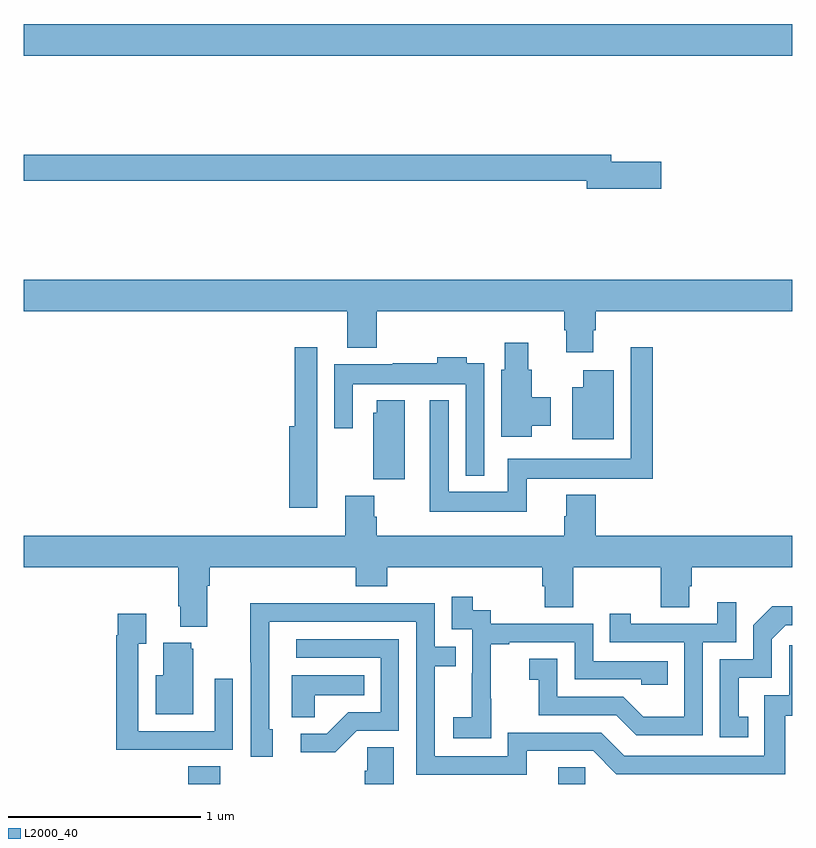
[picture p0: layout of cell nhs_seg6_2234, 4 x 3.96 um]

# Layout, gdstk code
import gdstk
lib = gdstk.Library(unit=1e-6, precision=1e-09)
def R(c, l, rs):  # rectangles x0, y0, x1, y1
    for r in rs: c.add(gdstk.rectangle(r[:2], r[2:], *l))
def P(c, l, *ps):  # polygons
    for p in ps: c.add(gdstk.Polygon(p, *l))
L2000_40 = (2000, 40)

nhs_seg6_2234 = lib.new_cell('nhs_seg6_2234')
R(nhs_seg6_2234, L2000_40, [(243.857,987.5,244.022,987.593), (245.783,987.5,245.922,987.587), (243,991.292,247,991.456)])
P(nhs_seg6_2234, L2000_40, [(246.319,990.74),(246.058,990.74),(246.058,990.776),(243,990.776),(243,990.64),(245.93,990.64),(245.93,990.598),(246.319,990.598)],
  [(245.965,989.862),(245.978,989.862),(245.978,989.96),(247,989.96),(247,990.124),(243,990.124),(243,989.96),(244.685,989.96),(244.685,989.771),(244.838,989.771),(244.838,989.96),(245.813,989.96),(245.813,989.862),(245.825,989.862),(245.825,989.748),(245.965,989.748)],
  [(245.644,989.366),(245.743,989.366),(245.743,989.514),(245.644,989.514),(245.644,989.655),(245.626,989.655),(245.626,989.797),(245.504,989.797),(245.504,989.655),(245.486,989.655),(245.486,989.307),(245.644,989.307)],
  [(244.528,989.258),(244.527,989.258),(244.527,989.773),(244.411,989.773),(244.411,989.362),(244.382,989.362),(244.382,988.938),(244.528,988.938)],
  [(245.618,989.09),(246.152,989.09),(246.152,989.088),(246.275,989.088),(246.275,989.773),(246.159,989.773),(246.159,989.194),(245.52,989.194),(245.52,989.02),(245.211,989.02),(245.211,989.497),(245.114,989.497),(245.114,988.916),(245.618,988.916)],
  [(245.397,989.689),(245.305,989.689),(245.305,989.722),(245.153,989.722),(245.153,989.689),(244.921,989.689),(244.921,989.686),(244.617,989.686),(244.617,989.352),(244.713,989.352),(244.713,989.582),(245.301,989.582),(245.301,989.105),(245.397,989.105)],
  [(246.07,989.653),(245.912,989.653),(245.912,989.566),(245.855,989.566),(245.855,989.294),(246.07,989.294)],
  [(244.984,989.497),(244.838,989.497),(244.838,989.433),(244.82,989.433),(244.82,989.086),(244.984,989.086)],
  [(244.838,988.892),(244.825,988.892),(244.825,989.001),(244.673,989.001),(244.673,988.792),(243,988.792),(243,988.628),(243.803,988.628),(243.803,988.426),(243.815,988.426),(243.815,988.319),(243.955,988.319),(243.955,988.532),(243.968,988.532),(243.968,988.628),(244.727,988.628),(244.727,988.529),(244.892,988.529),(244.892,988.628),(245.699,988.628),(245.699,988.53),(245.711,988.53),(245.711,988.42),(245.859,988.42),(245.859,988.628),(246.316,988.628),(246.316,988.42),(246.463,988.42),(246.463,988.53),(246.476,988.53),(246.476,988.628),(247,988.628),(247,988.792),(245.978,988.792),(245.978,989.005),(245.825,989.005),(245.825,988.893),(245.813,988.893),(245.813,988.792),(244.838,988.792)],
  [(245.433,987.943),(245.432,987.943),(245.432,988.227),(245.527,988.227),(245.527,988.239),(245.868,988.239),(245.868,988.044),(246.213,988.044),(246.213,988.017),(246.353,988.017),(246.353,988.14),(245.964,988.14),(245.964,988.335),(245.43,988.335),(245.43,988.404),(245.338,988.404),(245.338,988.474),(245.229,988.474),(245.229,988.305),(245.334,988.305),(245.334,988.076),(245.333,988.076),(245.333,987.847),(245.235,987.847),(245.235,987.737),(245.433,987.737)],
  [(246.534,988.239),(246.708,988.239),(246.708,988.447),(246.611,988.447),(246.611,988.335),(246.16,988.335),(246.16,988.387),(246.049,988.387),(246.049,988.239),(246.438,988.239),(246.438,987.85),(246.224,987.85),(246.12,987.954),(245.778,987.954),(245.778,988.153),(245.631,988.153),(245.631,988.043),(245.68,988.043),(245.68,987.858),(246.083,987.858),(246.188,987.753),(246.534,987.753)],
  [(245.617,987.672),(245.964,987.672),(246.084,987.552),(246.964,987.552),(246.964,987.855),(247,987.855),(247,988.222),(246.984,988.222),(246.984,987.963),(246.855,987.963),(246.855,987.648),(246.126,987.648),(246.006,987.768),(245.52,987.768),(245.52,987.645),(245.139,987.645),(245.139,988.114),(245.249,988.114),(245.249,988.215),(245.139,988.215),(245.139,988.44),(244.643,988.44),(244.643,988.442),(244.18,988.442),(244.18,988.135),(244.182,988.135),(244.182,987.642),(244.297,987.642),(244.297,987.786),(244.278,987.786),(244.278,988.344),(245.043,988.344),(245.043,987.549),(245.617,987.549)],
  [(246.77,987.849),(246.721,987.849),(246.721,988.053),(246.894,988.053),(246.894,988.254),(246.966,988.326),(247,988.326),(247,988.424),(246.896,988.424),(246.798,988.326),(246.798,988.149),(246.624,988.149),(246.624,987.744),(246.77,987.744)],
  [(243.773,987.678),(244.089,987.678),(244.089,988.048),(243.993,988.048),(243.993,987.774),(243.597,987.774),(243.597,988.231),(243.637,988.231),(243.637,988.387),(243.489,988.387),(243.489,988.274),(243.481,988.274),(243.481,987.677),(243.773,987.677)],
  [(244.734,987.777),(244.953,987.777),(244.953,988.254),(244.419,988.254),(244.419,988.158),(244.857,988.158),(244.857,987.873),(244.688,987.873),(244.577,987.762),(244.443,987.762),(244.443,987.665),(244.621,987.665)],
  [(243.883,988.203),(243.872,988.203),(243.872,988.234),(243.725,988.234),(243.725,988.066),(243.686,988.066),(243.686,987.863),(243.883,987.863)],
  [(244.515,987.962),(244.772,987.962),(244.772,988.066),(244.394,988.066),(244.394,987.847),(244.515,987.847)],
  [(244.927,987.692),(244.788,987.692),(244.788,987.569),(244.775,987.569),(244.775,987.5),(244.927,987.5)])

lib.write_gds('nhs_seg6_2234.gds')
